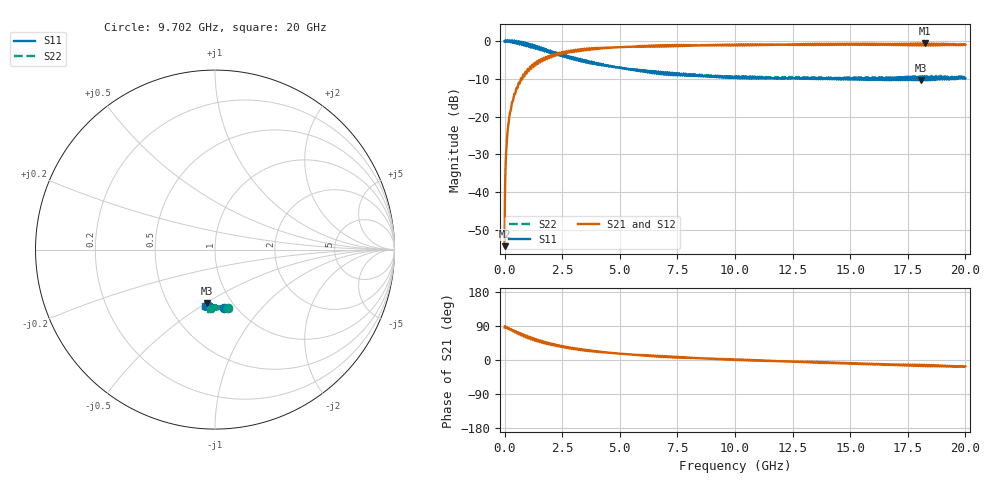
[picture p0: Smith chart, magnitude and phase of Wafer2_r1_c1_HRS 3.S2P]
!  2-Port S-parameters saved by WinCal
! VAR MeasName=S-Parameters (CALIBRATED_DATA) read from VNA (P5004A)
! VAR MeasDate=24/04/2024 17:22:50
! VAR NAME=Wafer2_r1_c1_HRS 3
! VAR FILENAME=Wafer2_r1_c1_HRS 3.S2P
! VAR DATE=24/04/2024 17:22:50
! VAR PHYS_PORTS=1,2
! VAR ObjTypeName=DATASET
! VAR IndexType=Frequency
# Hz S MA R 50
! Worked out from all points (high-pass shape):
!   4999 points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, 4.01 MHz to 20 GHz, reference 50 ohm
!   highest |S21| = -0.62 dB at 18.24 GHz (marker M1); lowest = -54.3 dB at 4.01 MHz (marker M2)
!   |S21| within 3 dB of the highest: 2.254 GHz to 2.319 GHz (65.65 MHz wide, 2.87 % of centre); 2.34 GHz to end of sweep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
!   lowest |S11| = -10.4 dB at 18.08 GHz (marker M3), VSWR 1.86, Z = 38.5 - j25.1 ohm
!   |S11| at or under -10 dB: 15.46675 GHz to 15.52733 GHz (60.57 MHz wide, 0.391 % of centre); 15.56618 GHz to 15.62749 GHz (61.32 MHz wide, 0.393 % of centre); 15.76585 GHz to 15.82616 GHz (60.31 MHz wide, 0.382 % of centre)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
!   |S22| runs from -10.1 to 0.1 dB; largest |S21 - S12| = 0.016
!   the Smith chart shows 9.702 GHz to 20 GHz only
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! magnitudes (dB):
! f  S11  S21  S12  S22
! 4.01 MHz  -0.1  -54.3  -54.3  -0.1
! 40.02 MHz  0.1  -34.2  -34.2  0.1
! 112 MHz  0.0  -25.6  -25.5  0.0
! 140 MHz  0.1  -23.4  -23.5  0.1
! 180 MHz  -0.2  -21.7  -21.7  -0.2
! 248.1 MHz  -0.1  -18.7  -18.8  -0.1
! 348.1 MHz  -0.2  -16.0  -16.1  -0.2
! 464.1 MHz  -0.6  -14.0  -14.0  -0.6
! 624.1 MHz  -0.2  -11.0  -11.0  -0.2
! 824.2 MHz  -0.5  -9.0  -9.0  -0.5
! 1.04 GHz  -1.4  -8.0  -7.9  -1.4
! 1.56 GHz  -2.2  -5.4  -5.5  -2.3
! 2.348 GHz  -3.6  -3.5  -3.5  -3.6
! 3.341 GHz  -5.2  -2.5  -2.5  -5.2
! 4.793 GHz  -6.9  -1.6  -1.7  -6.8
! 6.673 GHz  -8.1  -1.1  -1.1  -8.2
! 10 GHz  -9.7  -1.1  -1.2  -9.6
! 13.33 GHz  -9.9  -1.0  -1.0  -9.7
! 16.67 GHz  -10.3  -0.9  -0.9  -9.7
! 18.08 GHz  -10.4  -1.2  -1.2  -9.9
! 18.24 GHz  -9.4  -0.6  -0.6  -9.5
! 20 GHz  -9.9  -1.0  -1.0  -9.5
